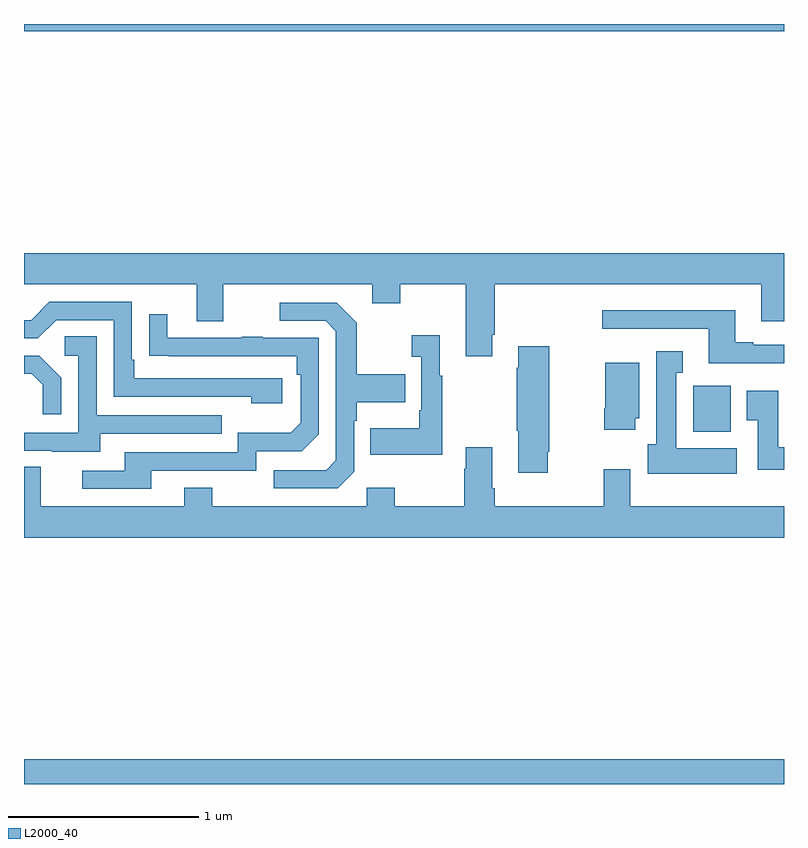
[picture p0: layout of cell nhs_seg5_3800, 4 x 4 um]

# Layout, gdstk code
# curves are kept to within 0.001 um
import gdstk
lib = gdstk.Library(unit=1e-6, precision=1e-09)
def R(c, l, rs):  # rectangles x0, y0, x1, y1
    for r in rs: c.add(gdstk.rectangle(r[:2], r[2:], *l))
def P(c, l, *ps):  # polygons
    for p in ps: c.add(gdstk.Polygon(p, *l))
L2000_40 = (2000, 40)

nhs_seg5_3800 = lib.new_cell('nhs_seg5_3800')
R(nhs_seg5_3800, L2000_40, [(335,852.799,339,852.928), (338.522,854.654,338.719,854.896), (335,856.76,339,856.799)])
P(nhs_seg5_3800, L2000_40, [(337.465,855.163),(337.478,855.163),(337.478,855.428),(338.879,855.428),(338.879,855.234),(339,855.234),(339,855.592),(335,855.592),(335,855.428),(335.909,855.428),(335.909,855.234),(336.049,855.234),(336.049,855.428),(336.833,855.428),(336.833,855.329),(336.981,855.329),(336.981,855.428),(337.325,855.428),(337.325,855.051),(337.465,855.051)],
  [(336.358,854.934),(335.581,854.934),(335.581,855.031),(335.568,855.031),(335.568,855.336),(335.133,855.336),(335.037,855.24),(335,855.24),(335,855.144),(335.073,855.144),(335.169,855.24),(335.472,855.24),(335.472,854.838),(336.197,854.838),(336.197,854.804),(336.358,854.804)],
  [(336.738,854.442),(336.738,854.711),(336.751,854.711),(336.751,854.807),(337.007,854.807),(337.007,854.955),(336.751,854.955),(336.751,855.227),(336.645,855.333),(336.345,855.333),(336.345,855.237),(336.588,855.237),(336.642,855.183),(336.642,854.502),(336.591,854.451),(336.315,854.451),(336.315,854.355),(336.651,854.355)],
  [(339,855.111),(338.839,855.111),(338.839,855.124),(338.743,855.124),(338.743,855.292),(338.043,855.292),(338.043,855.195),(338.603,855.195),(338.603,855.014),(339,855.014)],
  [(335.671,854.448),(336.222,854.448),(336.222,854.55),(336.462,854.55),(336.552,854.64),(336.552,855.147),(336.257,855.147),(336.257,855.152),(336.145,855.152),(336.145,855.147),(335.755,855.147),(335.755,855.271),(335.659,855.271),(335.659,855.052),(336.436,855.051),(336.436,854.954),(336.456,854.954),(336.456,854.7),(336.403,854.647),(336.126,854.647),(336.126,854.544),(335.531,854.544),(335.531,854.448),(335.307,854.448),(335.307,854.352),(335.671,854.352)],
  [(337.201,854.947),(337.189,854.947),(337.189,855.16),(337.041,855.16),(337.041,855.047),(337.092,855.047),(337.092,854.767),(337.08,854.767),(337.08,854.671),(336.823,854.671),(336.823,854.531),(337.201,854.531)],
  [(335.401,854.643),(336.041,854.643),(336.041,854.739),(335.382,854.739),(335.382,855.155),(335.214,855.155),(335.214,855.054),(335.286,855.054),(335.286,854.649),(335,854.649),(335,854.553),(335.147,854.553),(335.147,854.549),(335.401,854.549)],
  [(337.756,854.548),(337.764,854.548),(337.764,855.103),(337.601,855.103),(337.601,854.99),(337.594,854.99),(337.594,854.659),(337.601,854.659),(337.601,854.436),(337.756,854.436)],
  [(338.752,854.566),(338.434,854.566),(338.434,854.963),(338.467,854.963),(338.467,855.076),(338.327,855.076),(338.327,854.586),(338.282,854.586),(338.282,854.432),(338.752,854.432)],
  [(335.196,854.938),(335.08,855.054),(335,855.054),(335,854.958),(335.042,854.958),(335.099,854.901),(335.099,854.745),(335.196,854.745)],
  [(338.218,854.724),(338.239,854.724),(338.239,855.016),(338.06,855.016),(338.06,854.776),(338.053,854.776),(338.053,854.664),(338.218,854.664)],
  [(339,854.572),(338.971,854.572),(338.971,854.869),(338.804,854.869),(338.804,854.713),(338.861,854.713),(338.861,854.454),(339,854.454)],
  [(339,854.26),(338.191,854.26),(338.191,854.455),(338.051,854.455),(338.051,854.26),(337.478,854.26),(337.478,854.356),(337.465,854.356),(337.465,854.572),(337.325,854.572),(337.325,854.459),(337.318,854.459),(337.318,854.26),(336.951,854.26),(336.951,854.359),(336.804,854.359),(336.804,854.26),(335.991,854.26),(335.991,854.359),(335.843,854.359),(335.843,854.26),(335.089,854.26),(335.089,854.468),(335,854.468),(335,854.096),(339,854.096)])

lib.write_gds('nhs_seg5_3800.gds')
